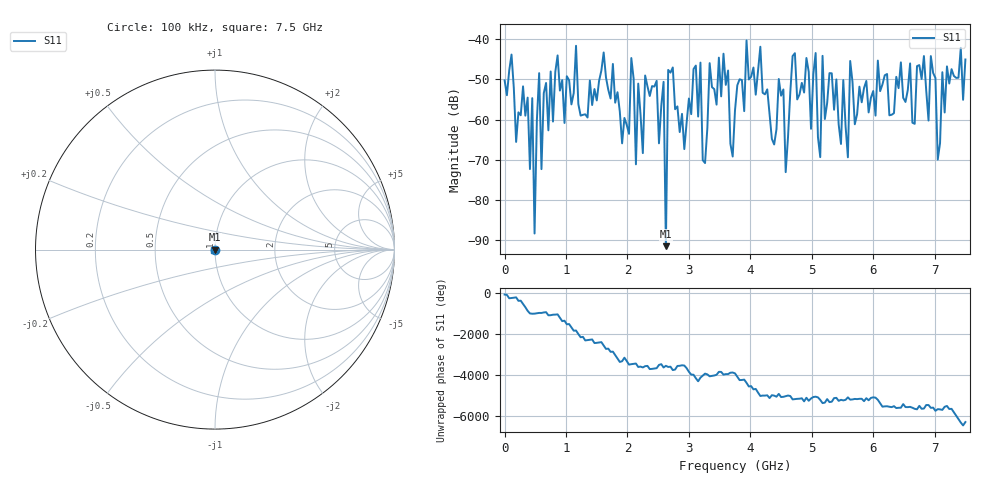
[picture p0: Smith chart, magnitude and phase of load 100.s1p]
# Hz S RI R 50.000000
! FREQ  re:S1  1  im:S1  1
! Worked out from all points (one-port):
!   201 points, 100 kHz to 7.5 GHz, reference 50 ohm
!   lowest |S11| = -91.6 dB at 2.625 GHz (marker M1), VSWR 1.00, Z = 50 + j0.00209 ohm
!   |S11| at or under -10 dB: start of sweep to end of sweep
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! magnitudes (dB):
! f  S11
! 100 kHz  -50.2
! 412.6 MHz  -72.4
! 450.1 MHz  -54.7
! 487.6 MHz  -88.5
! 562.6 MHz  -48.4
! 600.1 MHz  -72.4
! 937.6 MHz  -50.2
! 1.875 GHz  -58.0
! 2.588 GHz  -50.6
! 2.625 GHz  -91.6
! 2.663 GHz  -47.6
! 2.813 GHz  -56.7
! 3.75 GHz  -57.7
! 4.162 GHz  -41.8
! 4.387 GHz  -66.2
! 4.537 GHz  -52.5
! 4.575 GHz  -73.1
! 4.687 GHz  -44.1
! 4.987 GHz  -62.3
! 5.062 GHz  -43.4
! 5.137 GHz  -69.4
! 5.175 GHz  -44.1
! 5.587 GHz  -69.4
! 5.625 GHz  -45.4
! 6.562 GHz  -52.6
! 6.937 GHz  -44.2
! 7.05 GHz  -70.0
! 7.5 GHz  -45.0
